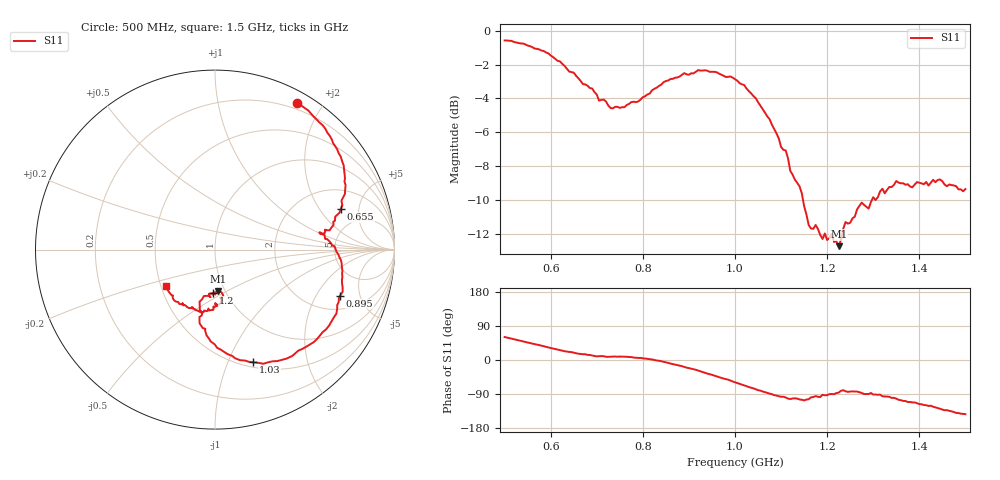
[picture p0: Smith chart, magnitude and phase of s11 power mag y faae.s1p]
#  HZ  S  RI  R  50.00
! Rohde & Schwarz Vector Network Analyzer
! Rohde-Schwarz,ZNC3-2Port,1311600412101323,1.94
! Created: UTC 10/28/2024, 10:09:48 PM
! freq[Hz]  re:S11  im:S11
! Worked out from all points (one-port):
!   201 points, 500 MHz to 1.5 GHz, reference 50 ohm
!   lowest |S11| = -12.7 dB at 1.225 GHz (marker M1), VSWR 1.60, Z = 46.4 - j22.5 ohm
!   |S11| at or under -10 dB: 1.148 GHz to 1.297 GHz (149.8 MHz wide, 12.3 % of centre); 1.304577 GHz to 1.305412 GHz (835.2 kHz wide, 0.064 % of centre)
!   S11 on the Smith chart (normalised r, x): 500 MHz: 0.13, +1.70; 655 MHz: 3.26, +3.21; 895 MHz: 2.84, -3.26; 1.03 GHz: 0.55, -1.24; 1.2 GHz: 0.87, -0.44; 1.5 GHz: 0.53, -0.25
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5e8  0.4583 0.8158
5.6e8  0.6508 0.6135
5.95e8  0.7171 0.4688
6.25e8  0.7252 0.3343
6.55e8  0.7005 0.2258
7e8  0.6387 0.1072
7.5e8  0.5838 0.0932
8.2e8  0.6663 0.0179
8.75e8  0.7071 -0.1702
8.95e8  0.6973 -0.2566
9.35e8  0.6351 -0.4244
1e9  0.3729 -0.6143
1.03e9  0.2128 -0.6277
1.085e9  -0.0238 -0.5119
1.115e9  -0.0861 -0.4106
1.125e9  -0.0748 -0.3677
1.145e9  -0.0846 -0.3195
1.16e9  -0.0619 -0.2588
1.2e9  -0.012 -0.2402
1.21e9  0.00148 -0.2506
1.225e9  0.0164 -0.23
1.24e9  0.0348 -0.2697
1.25e9  0.0317 -0.2686
1.275e9  0.0172 -0.3098
1.315e9  -0.00831 -0.335
1.375e9  -0.1255 -0.3284
1.43e9  -0.1991 -0.3028
1.5e9  -0.2714 -0.205
